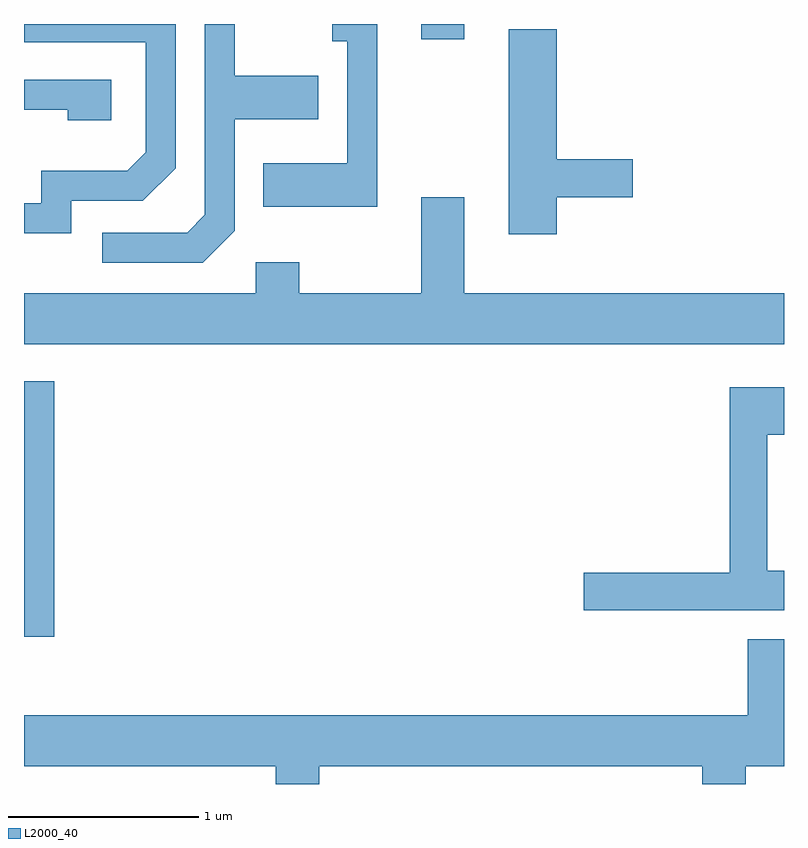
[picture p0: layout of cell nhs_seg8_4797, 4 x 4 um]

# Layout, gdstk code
import gdstk
lib = gdstk.Library(unit=1e-6, precision=1e-09)
def R(c, l, rs):  # rectangles x0, y0, x1, y1
    for r in rs: c.add(gdstk.rectangle(r[:2], r[2:], *l))
def P(c, l, *ps):  # polygons
    for p in ps: c.add(gdstk.Polygon(p, *l))
L2000_40 = (2000, 40)

nhs_seg8_4797 = lib.new_cell('nhs_seg8_4797')
R(nhs_seg8_4797, L2000_40, [(329.611,1817.118,329.769,1818.463), (331.701,1820.261,331.929,1820.342)])
P(nhs_seg8_4797, L2000_40, [(329.859,1819.411),(330.237,1819.411),(330.409,1819.584),(330.409,1820.342),(329.611,1820.342),(329.611,1820.246),(330.251,1820.246),(330.251,1819.667),(330.154,1819.569),(329.701,1819.569),(329.701,1819.399),(329.611,1819.399),(329.611,1819.241),(329.859,1819.241)],
  [(330.719,1819.254),(330.719,1819.841),(331.159,1819.841),(331.159,1820.069),(330.719,1820.069),(330.719,1820.342),(330.561,1820.342),(330.561,1819.337),(330.469,1819.244),(330.023,1819.244),(330.023,1819.086),(330.552,1819.086)],
  [(331.469,1820.342),(331.233,1820.342),(331.233,1820.251),(331.311,1820.251),(331.311,1819.609),(330.871,1819.609),(330.871,1819.381),(331.469,1819.381)],
  [(332.414,1819.431),(332.814,1819.431),(332.814,1819.629),(332.414,1819.629),(332.414,1820.314),(332.161,1820.314),(332.161,1819.236),(332.414,1819.236)],
  [(330.069,1820.049),(329.611,1820.049),(329.611,1819.891),(329.841,1819.891),(329.841,1819.836),(330.069,1819.836)],
  [(333.611,1818.924),(331.929,1818.924),(331.929,1819.429),(331.701,1819.429),(331.701,1818.924),(331.059,1818.924),(331.059,1819.089),(330.831,1819.089),(330.831,1818.924),(329.611,1818.924),(329.611,1818.656),(333.611,1818.656)],
  [(333.611,1817.464),(333.524,1817.464),(333.524,1818.181),(333.611,1818.181),(333.611,1818.429),(333.326,1818.429),(333.326,1817.454),(332.556,1817.454),(332.556,1817.256),(333.611,1817.256)],
  [(331.164,1816.436),(333.181,1816.436),(333.181,1816.342),(333.409,1816.342),(333.409,1816.436),(333.611,1816.436),(333.611,1817.104),(333.421,1817.104),(333.421,1816.704),(329.611,1816.704),(329.611,1816.436),(330.936,1816.436),(330.936,1816.342),(331.164,1816.342)])

lib.write_gds('nhs_seg8_4797.gds')
